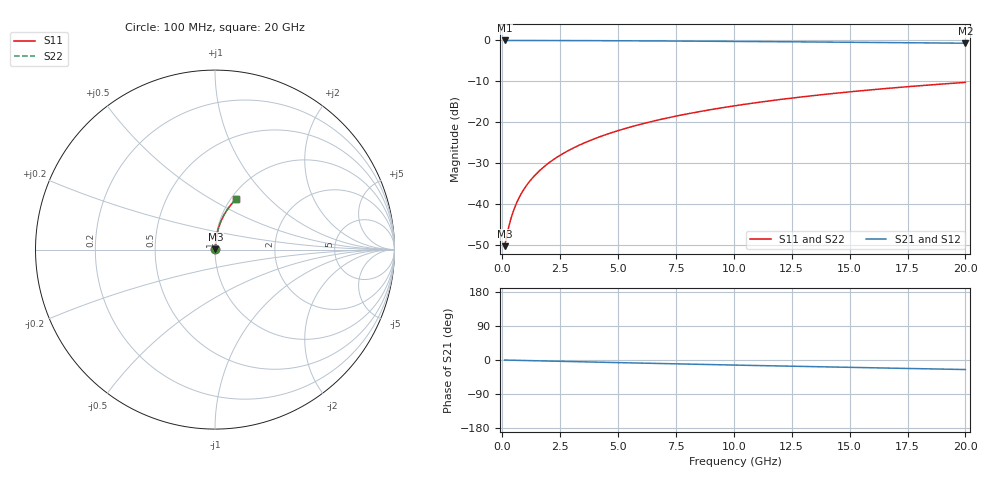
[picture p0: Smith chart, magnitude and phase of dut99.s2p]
! Touchstone file exported from HFSS 2024.1.0
!  File:  C:/UserFiles/LocalFiles/RDL_TSV_Batchsim/temp_RDL_bottom_99_1778695126.aedt
!  Generated:  02:01:37 AM May 14, 2026
!  Design:  RDL_bottom
!  Project:  temp_RDL_bottom_99_1778695126
!  Setup:  Setup1
!  Solution:  Sweep
! Variables:
!  dtsv = 10.80580581um
!  hbump = 3um
!  htsv = 97.99um
!  ldown = 293.94um
!  lrdl = 100um
!  p = 40
!  p1 = 47.07um
!  rhole = 1um
!  t = 450um
!  tdown = 3.2um
!  trdl = 3.915915916um
!  wdown = 13.48um
!  wrdl = 20um
# GHz S MA R 50.000000
! Terminal data exported
! Port[1] = RDL1_T1
! Port[2] = RDL1_T2
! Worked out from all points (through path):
!   200 points, 100 MHz to 20 GHz, reference 50 ohm
!   highest |S21| = -0.02 dB at 100 MHz (marker M1); lowest = -0.7 dB at 20 GHz (marker M2)
!   group delay of S21, straight-line fit = 3.48 ps
!   lowest |S11| = -50.3 dB at 100 MHz (marker M3), VSWR 1.01, Z = 50.3 + j0.165 ohm
!   |S11| at or under -10 dB: start of sweep to end of sweep
!   |S22| runs from -50.3 to -10.3 dB; largest |S21 - S12| = 3.5e-15
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0.1  0.00305 32.5  0.9974 -0.1  0.9974 -0.1  0.00305 32.5
! Gamma 0 0 0 0
! Port Impedance 50 0 50 0
0.2  0.004183 51.3  0.9974 -0.3  0.9974 -0.3  0.004183 51.3
0.3  0.00556 61.2  0.9973 -0.4  0.9973 -0.4  0.00556 61.2
0.4  0.007023 67.0  0.9972 -0.6  0.9972 -0.6  0.007023 67.0
0.5  0.008519 70.7  0.9972 -0.7  0.9972 -0.7  0.008519 70.7
0.6  0.01003 73.3  0.9971 -0.9  0.9971 -0.9  0.01003 73.3
0.8  0.01307 76.6  0.9969 -1.1  0.9969 -1.1  0.01307 76.6
1.1  0.01767 79.5  0.9967 -1.5  0.9967 -1.5  0.01767 79.5
1.5  0.02385 81.5  0.9963 -2.1  0.9963 -2.1  0.02385 81.5
1.8  0.02851 82.3  0.9959 -2.5  0.9959 -2.5  0.02851 82.3
2.1  0.03318 82.8  0.9956 -2.9  0.9956 -2.9  0.03318 82.8
2.7  0.04256 83.4  0.9946 -3.8  0.9946 -3.8  0.04256 83.4
3.5  0.05513 83.5  0.9931 -4.9  0.9931 -4.9  0.05513 83.5
4.2  0.06617 83.3  0.9915 -5.8  0.9915 -5.8  0.06617 83.3
5  0.07883 82.9  0.9893 -6.9  0.9893 -6.9  0.07882 82.9
5.9  0.0931 82.3  0.9866 -8.1  0.9866 -8.1  0.0931 82.3
6.8  0.1074 81.5  0.9837 -9.3  0.9837 -9.3  0.1074 81.5
8.3  0.1312 80.1  0.9782 -11.2  0.9782 -11.2  0.1312 80.1
10.1  0.1596 78.3  0.9709 -13.5  0.9709 -13.5  0.1596 78.3
13.4  0.2107 74.6  0.9561 -17.5  0.9561 -17.5  0.2107 74.6
16.7  0.2599 70.8  0.9399 -21.4  0.9399 -21.4  0.2598 70.8
20  0.3064 67.1  0.9226 -25.1  0.9226 -25.1  0.3064 67.1
